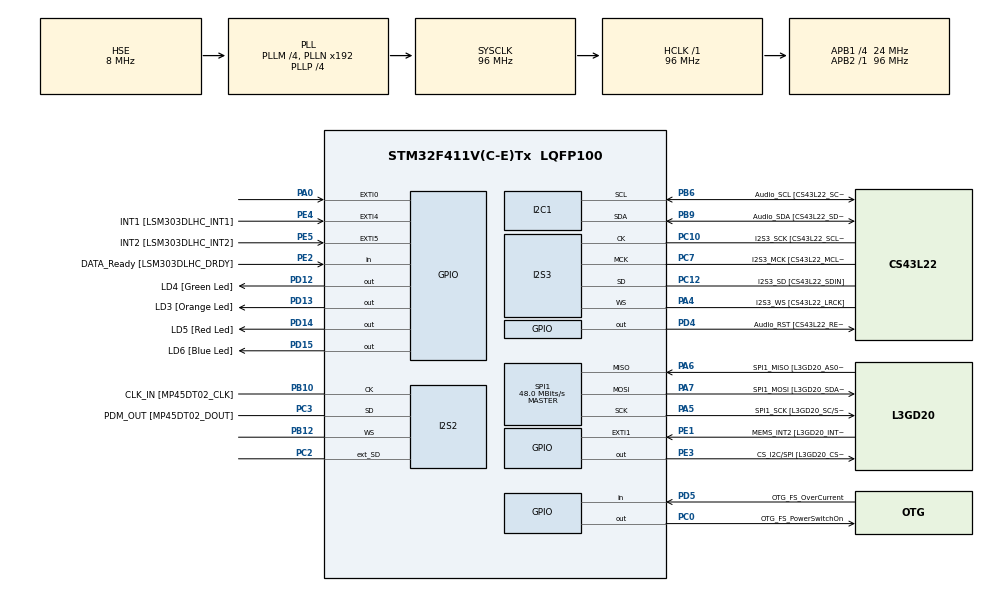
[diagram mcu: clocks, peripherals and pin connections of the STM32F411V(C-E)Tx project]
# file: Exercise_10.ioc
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FREERTOS.BinarySemaphores01=CriticalResourceSemaphore,Dynamic,NULL
FREERTOS.Tasks01=GreenLED_Task,0,128,Start_GreenLED_Task,Default,NULL,Dynamic,NULL,NULL;RedLED_Task,0,128,Start_RedLED_Task,Default,NULL,Dynamic,NULL,NULL;OrangeLED_Task,1,128,Start_OrangeLED_Task,Default,NULL,Dynamic,NULL,NULL
I2S2.AudioFreq=I2S_AUDIOFREQ_96K
I2S2.ErrorAudioFreq=0.15 %
I2S2.FullDuplexMode=I2S_FULLDUPLEXMODE_ENABLE
I2S2.Instance=SPI$Index
I2S2.RealAudioFreq=96.153 KHz
I2S2.VirtualMode=I2S_MODE_MASTER
I2S3.AudioFreq=I2S_AUDIOFREQ_96K
I2S3.ErrorAudioFreq=-6.99 %
I2S3.FullDuplexMode=I2S_FULLDUPLEXMODE_DISABLE
I2S3.Instance=SPI$Index
I2S3.RealAudioFreq=89.285 KHz
I2S3.VirtualMode=I2S_MODE_MASTER
Mcu.Family=STM32F4
Mcu.Name=STM32F411V(C-E)Tx
Mcu.Package=LQFP100
NVIC.PriorityGroup=NVIC_PRIORITYGROUP_4
NVIC.TIM1_UP_TIM10_IRQn=true\:0\:0\:false\:false\:true\:false\:false\:true
NVIC.TimeBase=TIM1_UP_TIM10_IRQn
NVIC.TimeBaseIP=TIM1
PA0-WKUP.GPIO_ModeDefaultEXTI=GPIO_MODE_EVT_RISING
PA0-WKUP.Signal=GPXTI0
PA10.GPIO_Label=OTG_FS_ID
PA10.Signal=USB_OTG_FS_ID
PA11.GPIO_Label=OTG_FS_DM
PA11.Signal=USB_OTG_FS_DM
PA12.GPIO_Label=OTG_FS_DP
PA12.Signal=USB_OTG_FS_DP
PA13.GPIO_Label=SWDIO
PA13.Mode=Serial_Wire
PA13.Signal=SYS_JTMS-SWDIO
PA14.GPIO_Label=SWCLK
PA14.Mode=Serial_Wire
PA14.Signal=SYS_JTCK-SWCLK
PA4.GPIO_Label=I2S3_WS [CS43L22_LRCK]
PA4.GPIO_Mode=GPIO_MODE_AF_PP
PA4.GPIO_PuPd=GPIO_NOPULL
PA4.GPIO_Speed=GPIO_SPEED_FREQ_LOW
PA4.Mode=Half_Duplex_Master
PA4.Signal=I2S3_WS
PA5.GPIO_Label=SPI1_SCK [L3GD20_SC/SPC]
PA5.Mode=Full_Duplex_Master
PA5.Signal=SPI1_SCK
PA6.GPIO_Label=SPI1_MISO [L3GD20_AS0/SDO]
PA6.Mode=Full_Duplex_Master
PA6.Signal=SPI1_MISO
PA7.GPIO_Label=SPI1_MOSI [L3GD20_SDA/SDI/SDO]
PA7.Mode=Full_Duplex_Master
PA7.Signal=SPI1_MOSI
PA9.GPIO_Label=VBUS_FS
PA9.Signal=USB_OTG_FS_VBUS
PB10.GPIO_Label=CLK_IN [MP45DT02_CLK]
PB10.Mode=Full_Duplex_Master
PB10.Signal=I2S2_CK
PB12.Mode=Full_Duplex_Master
PB12.Signal=I2S2_WS
PB3.GPIO_Label=SWO
PB3.Signal=SYS_JTDO-SWO
PB6.GPIO_Label=Audio_SCL [CS43L22_SCL]
PB6.GPIO_Mode=GPIO_MODE_AF_OD
PB6.GPIO_PuPd=GPIO_NOPULL
PB6.GPIO_Speed=GPIO_SPEED_FREQ_LOW
PB6.Mode=I2C
PB6.Signal=I2C1_SCL
PB9.GPIO_Label=Audio_SDA [CS43L22_SDA]
PB9.GPIO_Mode=GPIO_MODE_AF_OD
PB9.GPIO_PuPd=GPIO_NOPULL
PB9.GPIO_Speed=GPIO_SPEED_FREQ_LOW
PB9.Mode=I2C
PB9.Signal=I2C1_SDA
PC0.GPIO_Label=OTG_FS_PowerSwitchOn
PC0.PinState=GPIO_PIN_SET
PC0.Signal=GPIO_Output
PC10.GPIO_Label=I2S3_SCK [CS43L22_SCLK]
PC10.GPIO_Mode=GPIO_MODE_AF_PP
PC10.GPIO_PuPd=GPIO_NOPULL
PC10.GPIO_Speed=GPIO_SPEED_FREQ_LOW
PC10.Mode=Half_Duplex_Master
PC10.Signal=I2S3_CK
PC12.GPIO_Label=I2S3_SD [CS43L22_SDIN]
PC12.GPIO_Mode=GPIO_MODE_AF_PP
PC12.GPIO_PuPd=GPIO_NOPULL
PC12.GPIO_Speed=GPIO_SPEED_FREQ_LOW
PC12.Mode=Half_Duplex_Master
PC12.Signal=I2S3_SD
PC14-OSC32_IN.GPIO_Label=PC14-OSC32_IN
PC14-OSC32_IN.Mode=LSE-External-Oscillator
PC14-OSC32_IN.Signal=RCC_OSC32_IN
PC15-OSC32_OUT.GPIO_Label=PC15-OSC32_OUT
PC15-OSC32_OUT.Mode=LSE-External-Oscillator
PC15-OSC32_OUT.Signal=RCC_OSC32_OUT
PC2.Mode=Full_Duplex_Master
PC2.Signal=I2S2_ext_SD
PC3.GPIO_Label=PDM_OUT [MP45DT02_DOUT]
PC3.Mode=Full_Duplex_Master
PC3.Signal=I2S2_SD
PC7.GPIO_Label=I2S3_MCK [CS43L22_MCLK]
PC7.GPIO_Mode=GPIO_MODE_AF_PP
PC7.GPIO_PuPd=GPIO_NOPULL
PC7.GPIO_Speed=GPIO_SPEED_FREQ_LOW
PC7.Mode=Master_Clock_Activated
PC7.Signal=I2S3_MCK
PD12.GPIO_Label=LD4 [Green Led]
PD12.GPIO_PuPd=GPIO_NOPULL
PD12.GPIO_Speed=GPIO_SPEED_FREQ_LOW
PD12.Signal=GPIO_Output
PD13.GPIO_Label=LD3 [Orange Led]
PD13.GPIO_PuPd=GPIO_NOPULL
PD13.GPIO_Speed=GPIO_SPEED_FREQ_LOW
PD13.Signal=GPIO_Output
PD14.GPIO_Label=LD5 [Red Led]
PD14.GPIO_PuPd=GPIO_NOPULL
PD14.GPIO_Speed=GPIO_SPEED_FREQ_LOW
PD14.Signal=GPIO_Output
PD15.GPIO_Label=LD6 [Blue Led]
PD15.GPIO_PuPd=GPIO_NOPULL
PD15.GPIO_Speed=GPIO_SPEED_FREQ_LOW
PD15.Signal=GPIO_Output
PD4.GPIO_Label=Audio_RST [CS43L22_RESET]
PD4.Signal=GPIO_Output
PD5.GPIO_Label=OTG_FS_OverCurrent
PD5.Signal=GPIO_Input
PE1.GPIO_Label=MEMS_INT2 [L3GD20_INT2]
PE1.GPIO_ModeDefaultEXTI=GPIO_MODE_EVT_RISING
PE1.Signal=GPXTI1
PE2.GPIO_Label=DATA_Ready [LSM303DLHC_DRDY]
PE2.Signal=GPIO_Input
PE3.GPIO_Label=CS_I2C/SPI [L3GD20_CS_I2C/SPI]
PE3.Signal=GPIO_Output
PE4.GPIO_Label=INT1 [LSM303DLHC_INT1]
PE4.GPIO_ModeDefaultEXTI=GPIO_MODE_EVT_RISING
PE4.Signal=GPXTI4
PE5.GPIO_Label=INT2 [LSM303DLHC_INT2]
PE5.GPIO_ModeDefaultEXTI=GPIO_MODE_EVT_RISING
PE5.Signal=GPXTI5
PH0\ -\ OSC_IN.GPIO_Label=PH0-OSC_IN
PH0\ -\ OSC_IN.Mode=HSE-External-Clock-Source
PH0\ -\ OSC_IN.Signal=RCC_OSC_IN
PH1\ -\ OSC_OUT.GPIO_Label=PH1-OSC_OUT
PH1\ -\ OSC_OUT.Mode=HSE-External-Clock-Source
PH1\ -\ OSC_OUT.Signal=RCC_OSC_OUT
ProjectManager.HeapSize=0x200
ProjectManager.StackSize=0x400
ProjectManager.TargetToolchain=STM32CubeIDE
RCC.48MHZClocksFreq_Value=48000000
RCC.AHBFreq_Value=96000000
RCC.APB1CLKDivider=RCC_HCLK_DIV4
RCC.APB1Freq_Value=24000000
RCC.APB1TimFreq_Value=48000000
RCC.APB2Freq_Value=96000000
RCC.APB2TimFreq_Value=96000000
RCC.CortexFreq_Value=96000000
RCC.HCLKFreq_Value=96000000
RCC.HSE_VALUE=8000000
RCC.HSI_VALUE=16000000
RCC.PLLI2SM=5
RCC.PLLI2SN=200
RCC.PLLM=4
RCC.PLLP=RCC_PLLP_DIV4
RCC.PLLQ=8
RCC.PLLSourceVirtual=RCC_PLLSOURCE_HSE
RCC.SYSCLKFreq_VALUE=96000000
RCC.SYSCLKSource=RCC_SYSCLKSOURCE_PLLCLK
RCC.VCOOutputFreq_Value=384000000
SPI1.BaudRatePrescaler=SPI_BAUDRATEPRESCALER_2
SPI1.CalculateBaudRate=48.0 MBits/s
SPI1.Direction=SPI_DIRECTION_2LINES
SPI1.Mode=SPI_MODE_MASTER
SPI1.VirtualType=VM_MASTER
VP_FREERTOS_VS_CMSIS_V1.Mode=CMSIS_V1
VP_SYS_VS_tim1.Mode=TIM1
board=STM32F411E-DISCO

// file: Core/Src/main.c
/* USER CODE BEGIN Header */
/**
  ******************************************************************************
  * @file           : main.c
  * @brief          : Main program body
  ******************************************************************************
  * @attention
  *
  * <h2><center>&copy; Copyright (c) 2023 STMicroelectronics.
  * All rights reserved.</center></h2>
  *
  * This software component is licensed by ST under Ultimate Liberty license
  * SLA0044, the "License"; You may not use this file except in compliance with
  * the License. You may obtain a copy of the License at:
  *                             www.st.com/SLA0044
  *
  ******************************************************************************
  */
/* USER CODE END Header */

#include "main.h"
#include "cmsis_os.h"

/* USER CODE BEGIN PD */
#define green GPIO_PIN_12
#define orange GPIO_PIN_13
#define red GPIO_PIN_14
#define blue GPIO_PIN_15
/* USER CODE END PD */

I2C_HandleTypeDef hi2c1;

I2S_HandleTypeDef hi2s2;
I2S_HandleTypeDef hi2s3;

SPI_HandleTypeDef hspi1;

osThreadId GreenLED_TaskHandle;
osThreadId RedLED_TaskHandle;
osThreadId OrangeLED_TaskHandle;
osSemaphoreId CriticalResourceSemaphoreHandle;
/* USER CODE BEGIN PV */
int Start_Flag = 1;
/* USER CODE END PV */

void SystemClock_Config(void);
static void MX_GPIO_Init(void);
static void MX_I2C1_Init(void);
static void MX_I2S2_Init(void);
static void MX_I2S3_Init(void);
static void MX_SPI1_Init(void);
void Start_GreenLED_Task(void const * argument);
void Start_RedLED_Task(void const * argument);
void Start_OrangeLED_Task(void const * argument);

int main(void)
{

  /* MCU Configuration--------------------------------------------------------*/

  /* Reset of all peripherals, Initializes the Flash interface and the Systick. */
  HAL_Init();

  /* Configure the system clock */
  SystemClock_Config();

  /* Initialize all configured peripherals */
  MX_GPIO_Init();
  MX_I2C1_Init();
  MX_I2S2_Init();
  MX_I2S3_Init();
  MX_SPI1_Init();

  /* Create the semaphores(s) */
  /* definition and creation of CriticalResourceSemaphore */
  osSemaphoreDef(CriticalResourceSemaphore);
  CriticalResourceSemaphoreHandle = osSemaphoreCreate(osSemaphore(CriticalResourceSemaphore), 1);

  /* Create the thread(s) */
  /* definition and creation of GreenLED_Task */
  osThreadDef(GreenLED_Task, Start_GreenLED_Task, osPriorityNormal, 0, 128);
  GreenLED_TaskHandle = osThreadCreate(osThread(GreenLED_Task), NULL);

  /* definition and creation of RedLED_Task */
  osThreadDef(RedLED_Task, Start_RedLED_Task, osPriorityNormal, 0, 128);
  RedLED_TaskHandle = osThreadCreate(osThread(RedLED_Task), NULL);

  /* definition and creation of OrangeLED_Task */
  osThreadDef(OrangeLED_Task, Start_OrangeLED_Task, osPriorityAboveNormal, 0, 128);
  OrangeLED_TaskHandle = osThreadCreate(osThread(OrangeLED_Task), NULL);

  /* Start scheduler */
  osKernelStart();

  /* We should never get here as control is now taken by the scheduler */

  /* Infinite loop */
  while (1)
  {

  }
}

void SystemClock_Config(void)
{
  RCC_OscInitTypeDef RCC_OscInitStruct = {0};
  RCC_ClkInitTypeDef RCC_ClkInitStruct = {0};
  RCC_PeriphCLKInitTypeDef PeriphClkInitStruct = {0};

  /** Configure the main internal regulator output voltage
  */
  __HAL_RCC_PWR_CLK_ENABLE();
  __HAL_PWR_VOLTAGESCALING_CONFIG(PWR_REGULATOR_VOLTAGE_SCALE1);
  /** Initializes the CPU, AHB and APB busses clocks
  */
  RCC_OscInitStruct.OscillatorType = RCC_OSCILLATORTYPE_HSE;
  RCC_OscInitStruct.HSEState = RCC_HSE_BYPASS;
  RCC_OscInitStruct.PLL.PLLState = RCC_PLL_ON;
  RCC_OscInitStruct.PLL.PLLSource = RCC_PLLSOURCE_HSE;
  RCC_OscInitStruct.PLL.PLLM = 4;
  RCC_OscInitStruct.PLL.PLLN = 192;
  RCC_OscInitStruct.PLL.PLLP = RCC_PLLP_DIV4;
  RCC_OscInitStruct.PLL.PLLQ = 8;
  if (HAL_RCC_OscConfig(&RCC_OscInitStruct) != HAL_OK)
  {
    Error_Handler();
  }
  /** Initializes the CPU, AHB and APB busses clocks
  */
  RCC_ClkInitStruct.ClockType = RCC_CLOCKTYPE_HCLK|RCC_CLOCKTYPE_SYSCLK
                              |RCC_CLOCKTYPE_PCLK1|RCC_CLOCKTYPE_PCLK2;
  RCC_ClkInitStruct.SYSCLKSource = RCC_SYSCLKSOURCE_PLLCLK;
  RCC_ClkInitStruct.AHBCLKDivider = RCC_SYSCLK_DIV1;
  RCC_ClkInitStruct.APB1CLKDivider = RCC_HCLK_DIV4;
  RCC_ClkInitStruct.APB2CLKDivider = RCC_HCLK_DIV1;

  if (HAL_RCC_ClockConfig(&RCC_ClkInitStruct, FLASH_LATENCY_3) != HAL_OK)
  {
    Error_Handler();
  }
  PeriphClkInitStruct.PeriphClockSelection = RCC_PERIPHCLK_I2S;
  PeriphClkInitStruct.PLLI2S.PLLI2SN = 200;
  PeriphClkInitStruct.PLLI2S.PLLI2SM = 5;
  PeriphClkInitStruct.PLLI2S.PLLI2SR = 2;
  if (HAL_RCCEx_PeriphCLKConfig(&PeriphClkInitStruct) != HAL_OK)
  {
    Error_Handler();
  }
}

static void MX_I2C1_Init(void)
{

  hi2c1.Instance = I2C1;
  hi2c1.Init.ClockSpeed = 100000;
  hi2c1.Init.DutyCycle = I2C_DUTYCYCLE_2;
  hi2c1.Init.OwnAddress1 = 0;
  hi2c1.Init.AddressingMode = I2C_ADDRESSINGMODE_7BIT;
  hi2c1.Init.DualAddressMode = I2C_DUALADDRESS_DISABLE;
  hi2c1.Init.OwnAddress2 = 0;
  hi2c1.Init.GeneralCallMode = I2C_GENERALCALL_DISABLE;
  hi2c1.Init.NoStretchMode = I2C_NOSTRETCH_DISABLE;
  if (HAL_I2C_Init(&hi2c1) != HAL_OK)
  {
    Error_Handler();
  }

}

static void MX_I2S2_Init(void)
{

  hi2s2.Instance = SPI2;
  hi2s2.Init.Mode = I2S_MODE_MASTER_TX;
  hi2s2.Init.Standard = I2S_STANDARD_PHILIPS;
  hi2s2.Init.DataFormat = I2S_DATAFORMAT_16B;
  hi2s2.Init.MCLKOutput = I2S_MCLKOUTPUT_DISABLE;
  hi2s2.Init.AudioFreq = I2S_AUDIOFREQ_96K;
  hi2s2.Init.CPOL = I2S_CPOL_LOW;
  hi2s2.Init.ClockSource = I2S_CLOCK_PLL;
  hi2s2.Init.FullDuplexMode = I2S_FULLDUPLEXMODE_ENABLE;
  if (HAL_I2S_Init(&hi2s2) != HAL_OK)
  {
    Error_Handler();
  }

}

static void MX_I2S3_Init(void)
{

  hi2s3.Instance = SPI3;
  hi2s3.Init.Mode = I2S_MODE_MASTER_TX;
  hi2s3.Init.Standard = I2S_STANDARD_PHILIPS;
  hi2s3.Init.DataFormat = I2S_DATAFORMAT_16B;
  hi2s3.Init.MCLKOutput = I2S_MCLKOUTPUT_ENABLE;
  hi2s3.Init.AudioFreq = I2S_AUDIOFREQ_96K;
  hi2s3.Init.CPOL = I2S_CPOL_LOW;
  hi2s3.Init.ClockSource = I2S_CLOCK_PLL;
  hi2s3.Init.FullDuplexMode = I2S_FULLDUPLEXMODE_DISABLE;
  if (HAL_I2S_Init(&hi2s3) != HAL_OK)
  {
    Error_Handler();
  }

}

static void MX_SPI1_Init(void)
{

  /* SPI1 parameter configuration*/
  hspi1.Instance = SPI1;
  hspi1.Init.Mode = SPI_MODE_MASTER;
  hspi1.Init.Direction = SPI_DIRECTION_2LINES;
  hspi1.Init.DataSize = SPI_DATASIZE_8BIT;
  hspi1.Init.CLKPolarity = SPI_POLARITY_LOW;
  hspi1.Init.CLKPhase = SPI_PHASE_1EDGE;
  hspi1.Init.NSS = SPI_NSS_SOFT;
  hspi1.Init.BaudRatePrescaler = SPI_BAUDRATEPRESCALER_2;
  hspi1.Init.FirstBit = SPI_FIRSTBIT_MSB;
  hspi1.Init.TIMode = SPI_TIMODE_DISABLE;
  hspi1.Init.CRCCalculation = SPI_CRCCALCULATION_DISABLE;
  hspi1.Init.CRCPolynomial = 10;
  if (HAL_SPI_Init(&hspi1) != HAL_OK)
  {
    Error_Handler();
  }

}

static void MX_GPIO_Init(void)
{
  GPIO_InitTypeDef GPIO_InitStruct = {0};

  /* GPIO Ports Clock Enable */
  __HAL_RCC_GPIOE_CLK_ENABLE();
  __HAL_RCC_GPIOC_CLK_ENABLE();
  __HAL_RCC_GPIOH_CLK_ENABLE();
  __HAL_RCC_GPIOA_CLK_ENABLE();
  __HAL_RCC_GPIOB_CLK_ENABLE();
  __HAL_RCC_GPIOD_CLK_ENABLE();

  /*Configure GPIO pin Output Level */
  HAL_GPIO_WritePin(CS_I2C_SPI_GPIO_Port, CS_I2C_SPI_Pin, GPIO_PIN_RESET);

  /*Configure GPIO pin Output Level */
  HAL_GPIO_WritePin(OTG_FS_PowerSwitchOn_GPIO_Port, OTG_FS_PowerSwitchOn_Pin, GPIO_PIN_SET);

  /*Configure GPIO pin Output Level */
  HAL_GPIO_WritePin(GPIOD, LD4_Pin|LD3_Pin|LD5_Pin|LD6_Pin
                          |Audio_RST_Pin, GPIO_PIN_RESET);

  /*Configure GPIO pin : DATA_Ready_Pin */
  GPIO_InitStruct.Pin = DATA_Ready_Pin;
  GPIO_InitStruct.Mode = GPIO_MODE_INPUT;
  GPIO_InitStruct.Pull = GPIO_NOPULL;
  HAL_GPIO_Init(DATA_Ready_GPIO_Port, &GPIO_InitStruct);

  /*Configure GPIO pin : CS_I2C_SPI_Pin */
  GPIO_InitStruct.Pin = CS_I2C_SPI_Pin;
  GPIO_InitStruct.Mode = GPIO_MODE_OUTPUT_PP;
  GPIO_InitStruct.Pull = GPIO_NOPULL;
  GPIO_InitStruct.Speed = GPIO_SPEED_FREQ_LOW;
  HAL_GPIO_Init(CS_I2C_SPI_GPIO_Port, &GPIO_InitStruct);

  /*Configure GPIO pins : INT1_Pin INT2_Pin MEMS_INT2_Pin */
  GPIO_InitStruct.Pin = INT1_Pin|INT2_Pin|MEMS_INT2_Pin;
  GPIO_InitStruct.Mode = GPIO_MODE_EVT_RISING;
  GPIO_InitStruct.Pull = GPIO_NOPULL;
  HAL_GPIO_Init(GPIOE, &GPIO_InitStruct);

  /*Configure GPIO pin : OTG_FS_PowerSwitchOn_Pin */
  GPIO_InitStruct.Pin = OTG_FS_PowerSwitchOn_Pin;
  GPIO_InitStruct.Mode = GPIO_MODE_OUTPUT_PP;
  GPIO_InitStruct.Pull = GPIO_NOPULL;
  GPIO_InitStruct.Speed = GPIO_SPEED_FREQ_LOW;
  HAL_GPIO_Init(OTG_FS_PowerSwitchOn_GPIO_Port, &GPIO_InitStruct);

  /*Configure GPIO pin : PA0 */
  GPIO_InitStruct.Pin = GPIO_PIN_0;
  GPIO_InitStruct.Mode = GPIO_MODE_EVT_RISING;
  GPIO_InitStruct.Pull = GPIO_NOPULL;
  HAL_GPIO_Init(GPIOA, &GPIO_InitStruct);

  /*Configure GPIO pins : LD4_Pin LD3_Pin LD5_Pin LD6_Pin
                           Audio_RST_Pin */
  GPIO_InitStruct.Pin = LD4_Pin|LD3_Pin|LD5_Pin|LD6_Pin
                          |Audio_RST_Pin;
  GPIO_InitStruct.Mode = GPIO_MODE_OUTPUT_PP;
  GPIO_InitStruct.Pull = GPIO_NOPULL;
  GPIO_InitStruct.Speed = GPIO_SPEED_FREQ_LOW;
  HAL_GPIO_Init(GPIOD, &GPIO_InitStruct);

  /*Configure GPIO pin : VBUS_FS_Pin */
  GPIO_InitStruct.Pin = VBUS_FS_Pin;
  GPIO_InitStruct.Mode = GPIO_MODE_INPUT;
  GPIO_InitStruct.Pull = GPIO_NOPULL;
  HAL_GPIO_Init(VBUS_FS_GPIO_Port, &GPIO_InitStruct);

  /*Configure GPIO pins : OTG_FS_ID_Pin OTG_FS_DM_Pin OTG_FS_DP_Pin */
  GPIO_InitStruct.Pin = OTG_FS_ID_Pin|OTG_FS_DM_Pin|OTG_FS_DP_Pin;
  GPIO_InitStruct.Mode = GPIO_MODE_AF_PP;
  GPIO_InitStruct.Pull = GPIO_NOPULL;
  GPIO_InitStruct.Speed = GPIO_SPEED_FREQ_VERY_HIGH;
  GPIO_InitStruct.Alternate = GPIO_AF10_OTG_FS;
  HAL_GPIO_Init(GPIOA, &GPIO_InitStruct);

  /*Configure GPIO pin : OTG_FS_OverCurrent_Pin */
  GPIO_InitStruct.Pin = OTG_FS_OverCurrent_Pin;
  GPIO_InitStruct.Mode = GPIO_MODE_INPUT;
  GPIO_InitStruct.Pull = GPIO_NOPULL;
  HAL_GPIO_Init(OTG_FS_OverCurrent_GPIO_Port, &GPIO_InitStruct);

}

/* USER CODE BEGIN 4 */
void Access_Function()
{
	osSemaphoreWait(CriticalResourceSemaphoreHandle, osWaitForever);// semaphore P (wait for forever)
	if (Start_Flag == 1)
	{
		Start_Flag = 0;
	}
	else
	{
		HAL_GPIO_TogglePin(GPIOD, blue);
	}
	for(int i = 0; i < 500000; i++);
	Start_Flag = 1;
    osSemaphoreRelease(CriticalResourceSemaphoreHandle);// semaphore V (resume)
}
/* USER CODE END 4 */

void Start_GreenLED_Task(void const * argument)
{
  /* USER CODE BEGIN 5 */
  /* Infinite loop */
  for(;;)
  {
	  HAL_GPIO_WritePin(GPIOD, green, GPIO_PIN_SET);
	  Access_Function();
	  vTaskDelay(200);
	  HAL_GPIO_WritePin(GPIOD, green, GPIO_PIN_RESET);
	  vTaskDelay(200);
  }
  /* USER CODE END 5 */
}

void Start_RedLED_Task(void const * argument)
{
  /* USER CODE BEGIN Start_RedLED_Task */
  /* Infinite loop */
  for(;;)
  {
	  HAL_GPIO_WritePin(GPIOD, red, GPIO_PIN_SET);
	  Access_Function();
	  vTaskDelay(550);
	  HAL_GPIO_WritePin(GPIOD, red, GPIO_PIN_RESET);
	  vTaskDelay(550);
  }
  /* USER CODE END Start_RedLED_Task */
}

void Start_OrangeLED_Task(void const * argument)
{
  /* USER CODE BEGIN Start_OrangeLED_Task */
  /* Infinite loop */
  for(;;)
  {
	  HAL_GPIO_TogglePin(GPIOD, orange);
	  vTaskDelay(50);
  }
  /* USER CODE END Start_OrangeLED_Task */
}

void HAL_TIM_PeriodElapsedCallback(TIM_HandleTypeDef *htim)
{
  if (htim->Instance == TIM1) {
    HAL_IncTick();
  }
}

void Error_Handler(void)
{
}

/************************ (C) COPYRIGHT STMicroelectronics *****END OF FILE****/
